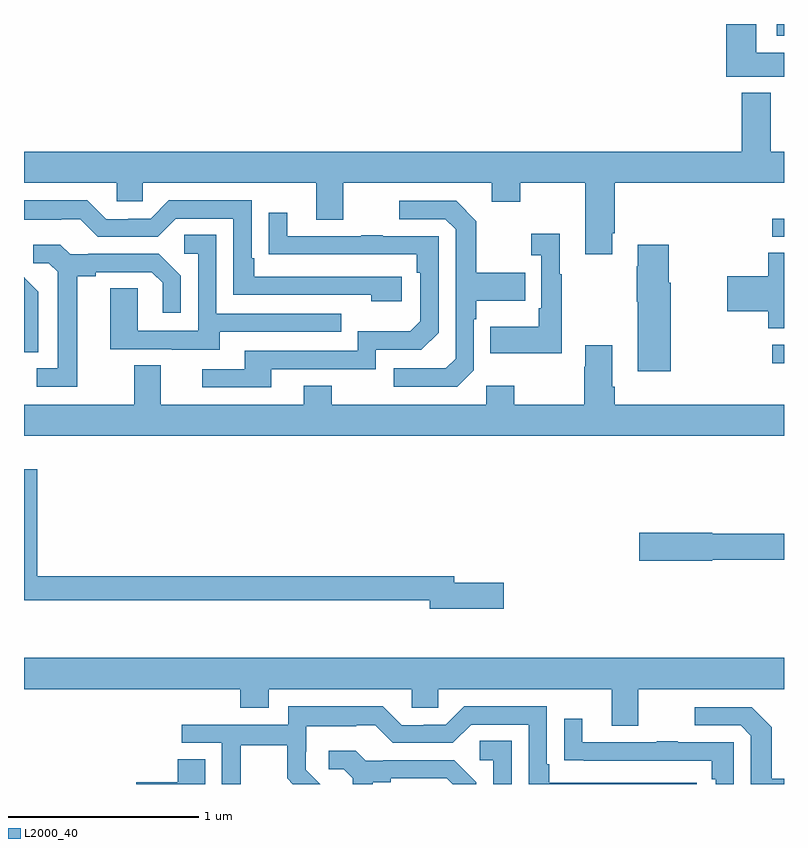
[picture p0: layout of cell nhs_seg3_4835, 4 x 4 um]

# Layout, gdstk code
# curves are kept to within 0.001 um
import gdstk
lib = gdstk.Library(unit=1e-6, precision=1e-09)
def R(c, l, rs):  # rectangles x0, y0, x1, y1
    for r in rs: c.add(gdstk.rectangle(r[:2], r[2:], *l))
def P(c, l, *ps):  # polygons
    for p in ps: c.add(gdstk.Polygon(p, *l))
L2000_40 = (2000, 40)

nhs_seg3_4835 = lib.new_cell('nhs_seg3_4835')
R(nhs_seg3_4835, L2000_40, [(374.937,718.615,375,718.713), (374.937,719.28,375,719.376), (374.961,720.339,375,720.4)])
P(nhs_seg3_4835, L2000_40, [(375,720.25),(374.854,720.25),(374.854,720.4),(374.696,720.4),(374.696,720.122),(375,720.122)],
  [(374.095,719.299),(374.108,719.299),(374.108,719.564),(375,719.564),(375,719.728),(374.929,719.728),(374.929,720.037),(374.777,720.037),(374.777,719.728),(371,719.728),(371,719.564),(371.487,719.564),(371.487,719.466),(371.625,719.466),(371.625,719.564),(372.539,719.564),(372.539,719.37),(372.679,719.37),(372.679,719.564),(373.463,719.564),(373.463,719.465),(373.611,719.465),(373.611,719.564),(373.955,719.564),(373.955,719.187),(374.095,719.187)],
  [(372.988,719.07),(372.211,719.07),(372.211,719.167),(372.198,719.167),(372.198,719.472),(371.763,719.472),(371.667,719.376),(371.549,719.376),(371.549,719.373),(371.433,719.373),(371.333,719.473),(371,719.473),(371,719.369),(371.195,719.369),(371.195,719.373),(371.295,719.373),(371.388,719.28),(371.703,719.28),(371.799,719.376),(372.102,719.376),(372.102,718.974),(372.827,718.974),(372.827,718.94),(372.988,718.94)],
  [(373.368,718.578),(373.368,718.847),(373.381,718.847),(373.381,718.943),(373.637,718.943),(373.637,719.091),(373.381,719.091),(373.381,719.363),(373.275,719.469),(372.975,719.469),(372.975,719.373),(373.218,719.373),(373.272,719.319),(373.272,718.638),(373.221,718.587),(372.945,718.587),(372.945,718.491),(373.281,718.491)],
  [(372.301,718.584),(372.852,718.584),(372.852,718.686),(373.092,718.686),(373.182,718.776),(373.182,719.283),(372.887,719.283),(372.887,719.288),(372.775,719.288),(372.775,719.283),(372.385,719.283),(372.385,719.407),(372.289,719.407),(372.289,719.188),(373.066,719.187),(373.066,719.09),(373.086,719.09),(373.086,718.836),(373.033,718.783),(372.756,718.783),(372.756,718.68),(372.161,718.68),(372.161,718.584),(371.937,718.584),(371.937,718.488),(372.301,718.488)],
  [(373.831,719.083),(373.819,719.083),(373.819,719.296),(373.671,719.296),(373.671,719.183),(373.722,719.183),(373.722,718.903),(373.71,718.903),(373.71,718.807),(373.453,718.807),(373.453,718.667),(373.831,718.667)],
  [(372.031,718.779),(372.671,718.779),(372.671,718.875),(372.012,718.875),(372.012,719.291),(371.844,719.291),(371.844,719.19),(371.916,719.19),(371.916,718.785),(371.598,718.785),(371.598,719.009),(371.453,719.009),(371.453,718.689),(371.777,718.689),(371.777,718.685),(372.031,718.685)],
  [(371.281,719.072),(371.377,719.072),(371.377,719.094),(371.672,719.094),(371.729,719.037),(371.729,718.881),(371.826,718.881),(371.826,719.074),(371.71,719.19),(371.338,719.19),(371.338,719.187),(371.244,719.187),(371.192,719.239),(371.049,719.239),(371.049,719.142),(371.13,719.142),(371.177,719.095),(371.177,718.587),(371.067,718.587),(371.067,718.491),(371.281,718.491)],
  [(374.404,719.037),(374.394,719.037),(374.394,719.239),(374.231,719.239),(374.231,719.126),(374.224,719.126),(374.224,718.937),(374.231,718.937),(374.231,718.572),(374.404,718.572)],
  [(375,719.195),(374.918,719.195),(374.918,719.072),(374.7,719.072),(374.7,718.889),(374.918,718.889),(374.918,718.798),(375,718.798)],
  [(371.076,718.99),(371.003,719.063),(371.004,719.064),(371,719.068),(371,718.672),(371.076,718.672)],
  [(375,718.396),(374.108,718.396),(374.108,718.492),(374.095,718.492),(374.095,718.708),(373.955,718.708),(373.955,718.595),(373.948,718.595),(373.948,718.396),(373.581,718.396),(373.581,718.495),(373.434,718.495),(373.434,718.396),(372.621,718.396),(372.621,718.495),(372.473,718.495),(372.473,718.396),(371.719,718.396),(371.719,718.604),(371.579,718.604),(371.579,718.396),(371,718.396),(371,718.232),(375,718.232)],
  [(373.525,717.458),(373.264,717.458),(373.264,717.494),(371.069,717.494),(371.069,718.057),(371,718.057),(371,717.366),(373.136,717.366),(373.136,717.323),(373.525,717.323)],
  [(374.622,717.58),(375,717.58),(375,717.716),(374.622,717.716),(374.622,717.722),(374.238,717.722),(374.238,717.575),(374.622,717.575)],
  [(371,716.9),(372.137,716.9),(372.137,716.801),(372.289,716.801),(372.289,716.9),(373.041,716.9),(373.041,716.802),(373.179,716.802),(373.179,716.9),(374.093,716.9),(374.093,716.706),(374.233,716.706),(374.233,716.9),(375,716.9),(375,717.064),(371,717.064)],
  [(372.141,716.604),(372.385,716.604),(372.385,716.429),(372.414,716.4),(372.558,716.4),(372.484,716.474),(372.484,716.571),(372.486,716.571),(372.486,716.705),(372.749,716.705),(372.749,716.709),(372.849,716.709),(372.942,716.616),(373.257,716.616),(373.353,716.712),(373.656,716.712),(373.656,716.4),(374.542,716.4),(374.542,716.406),(373.765,716.406),(373.765,716.503),(373.752,716.503),(373.752,716.808),(373.317,716.808),(373.221,716.712),(373.103,716.712),(373.103,716.709),(372.987,716.709),(372.887,716.809),(372.39,716.809),(372.39,716.712),(371.829,716.712),(371.829,716.616),(372.042,716.616),(372.042,716.4),(372.141,716.4)],
  [(375,716.427),(374.935,716.427),(374.935,716.699),(374.829,716.805),(374.529,716.805),(374.529,716.709),(374.772,716.709),(374.826,716.655),(374.826,716.4),(375,716.4)],
  [(374.736,716.619),(374.441,716.619),(374.441,716.624),(374.329,716.624),(374.329,716.619),(373.939,716.619),(373.939,716.743),(373.843,716.743),(373.843,716.524),(373.945,716.524),(373.945,716.523),(374.62,716.523),(374.62,716.426),(374.64,716.426),(374.64,716.4),(374.736,716.4)],
  [(373.566,716.627),(373.398,716.627),(373.398,716.526),(373.47,716.526),(373.47,716.4),(373.566,716.4)],
  [(372.835,716.408),(372.931,716.408),(372.931,716.43),(373.226,716.43),(373.256,716.4),(373.38,716.4),(373.38,716.41),(373.264,716.526),(372.892,716.526),(372.892,716.523),(372.798,716.523),(372.746,716.575),(372.603,716.575),(372.603,716.478),(372.684,716.478),(372.731,716.431),(372.731,716.4),(372.835,716.4)],
  [(371.953,716.531),(371.81,716.531),(371.81,716.408),(371.592,716.408),(371.592,716.4),(371.953,716.4)])

lib.write_gds('nhs_seg3_4835.gds')
